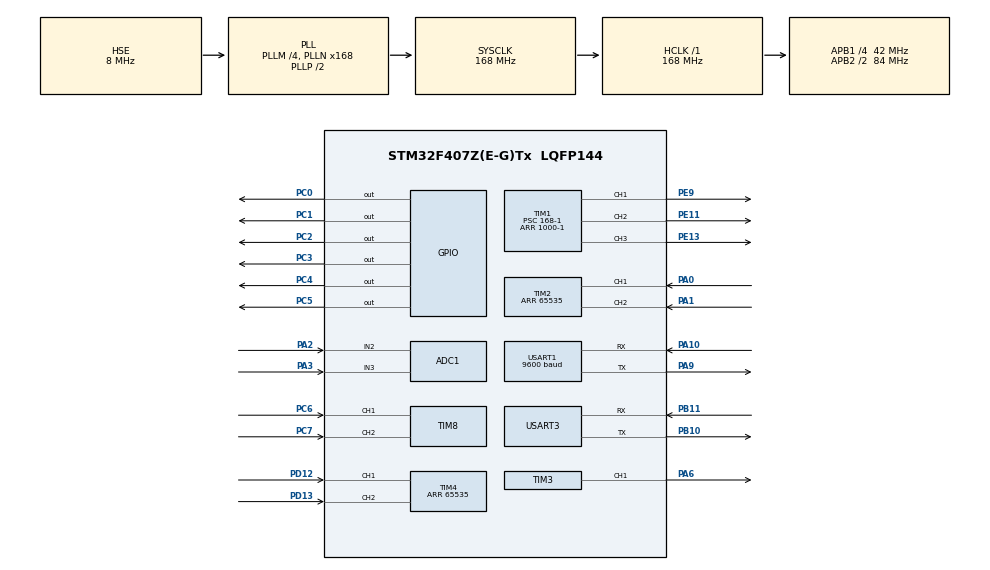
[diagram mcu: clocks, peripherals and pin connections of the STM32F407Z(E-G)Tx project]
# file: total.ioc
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ADC1.Channel-0\#ChannelRegularConversion=ADC_CHANNEL_3
ADC1.Channel-1\#ChannelRegularConversion=ADC_CHANNEL_2
ADC1.ContinuousConvMode=ENABLE
ADC1.DMAContinuousRequests=ENABLE
ADC1.NbrOfConversion=2
ADC1.NbrOfConversionFlag=1
ADC1.Rank-0\#ChannelRegularConversion=1
ADC1.Rank-1\#ChannelRegularConversion=2
ADC1.SamplingTime-0\#ChannelRegularConversion=ADC_SAMPLETIME_3CYCLES
ADC1.SamplingTime-1\#ChannelRegularConversion=ADC_SAMPLETIME_3CYCLES
ADC1.ScanConvMode=ENABLE
ADC1.master=1
Dma.ADC1.1.Direction=DMA_PERIPH_TO_MEMORY
Dma.ADC1.1.FIFOMode=DMA_FIFOMODE_DISABLE
Dma.ADC1.1.Instance=DMA2_Stream0
Dma.ADC1.1.MemDataAlignment=DMA_MDATAALIGN_WORD
Dma.ADC1.1.MemInc=DMA_MINC_ENABLE
Dma.ADC1.1.Mode=DMA_CIRCULAR
Dma.ADC1.1.PeriphDataAlignment=DMA_PDATAALIGN_WORD
Dma.ADC1.1.PeriphInc=DMA_PINC_DISABLE
Dma.ADC1.1.Priority=DMA_PRIORITY_LOW
Dma.Request0=TIM3_CH1/TRIG
Dma.Request1=ADC1
Dma.Request2=USART3_RX
Dma.Request3=USART1_RX
Dma.TIM3_CH1/TRIG.0.Direction=DMA_MEMORY_TO_PERIPH
Dma.TIM3_CH1/TRIG.0.FIFOMode=DMA_FIFOMODE_DISABLE
Dma.TIM3_CH1/TRIG.0.Instance=DMA1_Stream4
Dma.TIM3_CH1/TRIG.0.MemDataAlignment=DMA_MDATAALIGN_WORD
Dma.TIM3_CH1/TRIG.0.MemInc=DMA_MINC_ENABLE
Dma.TIM3_CH1/TRIG.0.Mode=DMA_NORMAL
Dma.TIM3_CH1/TRIG.0.PeriphDataAlignment=DMA_PDATAALIGN_WORD
Dma.TIM3_CH1/TRIG.0.PeriphInc=DMA_PINC_DISABLE
Dma.TIM3_CH1/TRIG.0.Priority=DMA_PRIORITY_LOW
Dma.USART1_RX.3.Direction=DMA_PERIPH_TO_MEMORY
Dma.USART1_RX.3.FIFOMode=DMA_FIFOMODE_DISABLE
Dma.USART1_RX.3.Instance=DMA2_Stream2
Dma.USART1_RX.3.MemDataAlignment=DMA_MDATAALIGN_BYTE
Dma.USART1_RX.3.MemInc=DMA_MINC_ENABLE
Dma.USART1_RX.3.Mode=DMA_NORMAL
Dma.USART1_RX.3.PeriphDataAlignment=DMA_PDATAALIGN_BYTE
Dma.USART1_RX.3.PeriphInc=DMA_PINC_DISABLE
Dma.USART1_RX.3.Priority=DMA_PRIORITY_LOW
Dma.USART3_RX.2.Direction=DMA_PERIPH_TO_MEMORY
Dma.USART3_RX.2.FIFOMode=DMA_FIFOMODE_DISABLE
Dma.USART3_RX.2.Instance=DMA1_Stream1
Dma.USART3_RX.2.MemDataAlignment=DMA_MDATAALIGN_BYTE
Dma.USART3_RX.2.MemInc=DMA_MINC_ENABLE
Dma.USART3_RX.2.Mode=DMA_NORMAL
Dma.USART3_RX.2.PeriphDataAlignment=DMA_PDATAALIGN_BYTE
Dma.USART3_RX.2.PeriphInc=DMA_PINC_DISABLE
Dma.USART3_RX.2.Priority=DMA_PRIORITY_LOW
FREERTOS.Tasks01=lampTask,3,256,StartLampTask,Default,NULL,Dynamic,NULL,NULL;chassisTask,3,256,StartChassisTask,Default,NULL,Dynamic,NULL,NULL;messageTask,-1,128,StartMessageTask,Default,NULL,Dynamic,NULL,NULL
Mcu.Family=STM32F4
Mcu.Name=STM32F407Z(E-G)Tx
Mcu.Package=LQFP144
NVIC.DMA1_Stream1_IRQn=true\:5\:0\:false\:false\:true\:true\:false\:true\:true
NVIC.DMA1_Stream4_IRQn=true\:5\:0\:false\:false\:true\:true\:false\:true\:true
NVIC.DMA2_Stream0_IRQn=true\:5\:0\:false\:false\:true\:true\:false\:true\:true
NVIC.DMA2_Stream2_IRQn=true\:5\:0\:false\:false\:true\:true\:false\:true\:true
NVIC.PriorityGroup=NVIC_PRIORITYGROUP_4
NVIC.TIM5_IRQn=true\:15\:0\:false\:false\:true\:false\:false\:true\:true
NVIC.TIM6_DAC_IRQn=true\:5\:0\:false\:false\:true\:true\:true\:true\:true
NVIC.TIM8_TRG_COM_TIM14_IRQn=true\:5\:0\:false\:false\:true\:true\:true\:true\:true
NVIC.TimeBase=TIM5_IRQn
NVIC.TimeBaseIP=TIM5
NVIC.USART1_IRQn=true\:5\:0\:false\:false\:true\:true\:true\:true\:true
NVIC.USART3_IRQn=true\:5\:0\:false\:false\:true\:true\:true\:true\:true
PA0-WKUP.Signal=S_TIM2_CH1_ETR
PA1.Signal=S_TIM2_CH2
PA10.Mode=Asynchronous
PA10.Signal=USART1_RX
PA13.Mode=Serial_Wire
PA13.Signal=SYS_JTMS-SWDIO
PA14.Mode=Serial_Wire
PA14.Signal=SYS_JTCK-SWCLK
PA2.Signal=ADCx_IN2
PA3.Signal=ADCx_IN3
PA6.Signal=S_TIM3_CH1
PA9.Mode=Asynchronous
PA9.Signal=USART1_TX
PB10.Mode=Asynchronous
PB10.Signal=USART3_TX
PB11.Mode=Asynchronous
PB11.Signal=USART3_RX
PC0.Signal=GPIO_Output
PC1.Signal=GPIO_Output
PC2.Signal=GPIO_Output
PC3.Signal=GPIO_Output
PC4.Signal=GPIO_Output
PC5.Signal=GPIO_Output
PC6.Signal=S_TIM8_CH1
PC7.Signal=S_TIM8_CH2
PD12.Signal=S_TIM4_CH1
PD13.Signal=S_TIM4_CH2
PE11.Signal=S_TIM1_CH2
PE13.Signal=S_TIM1_CH3
PE9.Signal=S_TIM1_CH1
PH0-OSC_IN.Mode=HSE-External-Oscillator
PH0-OSC_IN.Signal=RCC_OSC_IN
PH1-OSC_OUT.Mode=HSE-External-Oscillator
PH1-OSC_OUT.Signal=RCC_OSC_OUT
ProjectManager.HeapSize=0x200
ProjectManager.StackSize=0x400
ProjectManager.TargetToolchain=MDK-ARM V5.32
RCC.48MHZClocksFreq_Value=84000000
RCC.AHBFreq_Value=168000000
RCC.APB1CLKDivider=RCC_HCLK_DIV4
RCC.APB1Freq_Value=42000000
RCC.APB1TimFreq_Value=84000000
RCC.APB2CLKDivider=RCC_HCLK_DIV2
RCC.APB2Freq_Value=84000000
RCC.APB2TimFreq_Value=168000000
RCC.CortexFreq_Value=168000000
RCC.HCLKFreq_Value=168000000
RCC.HSE_VALUE=8000000
RCC.HSI_VALUE=16000000
RCC.LSE_VALUE=32768
RCC.PLLM=4
RCC.PLLN=168
RCC.PLLSourceVirtual=RCC_PLLSOURCE_HSE
RCC.SYSCLKFreq_VALUE=168000000
RCC.SYSCLKSource=RCC_SYSCLKSOURCE_PLLCLK
RCC.VCOOutputFreq_Value=336000000
SH.ADCx_IN2.0=ADC1_IN2,IN2
SH.ADCx_IN3.0=ADC1_IN3,IN3
SH.S_TIM1_CH1.0=TIM1_CH1,PWM Generation1 CH1
SH.S_TIM1_CH2.0=TIM1_CH2,PWM Generation2 CH2
SH.S_TIM1_CH3.0=TIM1_CH3,PWM Generation3 CH3
SH.S_TIM2_CH1_ETR.0=TIM2_CH1,Encoder_Interface
SH.S_TIM2_CH2.0=TIM2_CH2,Encoder_Interface
SH.S_TIM3_CH1.0=TIM3_CH1,PWM Generation1 CH1
SH.S_TIM4_CH1.0=TIM4_CH1,Encoder_Interface
SH.S_TIM4_CH2.0=TIM4_CH2,Encoder_Interface
SH.S_TIM8_CH1.0=TIM8_CH1,Encoder_Interface
SH.S_TIM8_CH2.0=TIM8_CH2,Encoder_Interface
TIM1.AutoReloadPreload=TIM_AUTORELOAD_PRELOAD_ENABLE
TIM1.Channel-PWM\ Generation1\ CH1=TIM_CHANNEL_1
TIM1.Channel-PWM\ Generation2\ CH2=TIM_CHANNEL_2
TIM1.Channel-PWM\ Generation3\ CH3=TIM_CHANNEL_3
TIM1.Period=1000-1
TIM1.Prescaler=168-1
TIM14.Period=105-1
TIM14.Prescaler=1000-1
TIM2.EncoderMode=TIM_ENCODERMODE_TI12
TIM2.Period=65535
TIM3.AutoReloadPreload=TIM_AUTORELOAD_PRELOAD_DISABLE
TIM3.Channel-PWM\ Generation1\ CH1=TIM_CHANNEL_1
TIM3.Period=105-1
TIM4.EncoderMode=TIM_ENCODERMODE_TI12
TIM4.Period=65535
TIM6.Period=1000-1
TIM6.Prescaler=84-1
TIM8.EncoderMode=TIM_ENCODERMODE_TI12
USART1.BaudRate=9600
USART1.VirtualMode=VM_ASYNC
USART3.VirtualMode=VM_ASYNC
VP_FREERTOS_VS_CMSIS_V1.Mode=CMSIS_V1
VP_SYS_VS_tim5.Mode=TIM5
VP_TIM14_VS_ClockSourceINT.Mode=Enable_Timer
VP_TIM1_VS_ClockSourceINT.Mode=Internal
VP_TIM3_VS_ClockSourceINT.Mode=Internal
VP_TIM6_VS_ClockSourceINT.Mode=Enable_Timer
board=custom

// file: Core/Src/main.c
/* USER CODE BEGIN Header */
/**
  ******************************************************************************
  * @file           : main.c
  * @brief          : Main program body
  ******************************************************************************
  * @attention
  *
  * Copyright (c) 2024 STMicroelectronics.
  * All rights reserved.
  *
  * This software is licensed under terms that can be found in the LICENSE file
  * in the root directory of this software component.
  * If no LICENSE file comes with this software, it is provided AS-IS.
  *
  ******************************************************************************
  */
/* USER CODE END Header */
#include "main.h"
#include "cmsis_os.h"
#include "adc.h"
#include "dma.h"
#include "tim.h"
#include "usart.h"
#include "gpio.h"

/* USER CODE BEGIN Includes */
#include "rgb.h"
#include "lamp.h"
#include "chassis.h"
#include "tof.h"
#include "fytpi_math.h"
/* USER CODE END Includes */

/* USER CODE BEGIN PV */
uint8_t RxData = 0;
uint8_t uart_buf[44] = {0};
/* USER CODE END PV */

void SystemClock_Config(void);
void MX_FREERTOS_Init(void);

int main(void)
{

  /* MCU Configuration--------------------------------------------------------*/

  /* Reset of all peripherals, Initializes the Flash interface and the Systick. */
  HAL_Init();

  /* Configure the system clock */
  SystemClock_Config();

  /* Initialize all configured peripherals */
  MX_GPIO_Init();
  MX_DMA_Init();
  MX_TIM3_Init();
  MX_ADC1_Init();
  MX_TIM1_Init();
  MX_TIM2_Init();
  MX_TIM4_Init();
  MX_TIM6_Init();
  MX_TIM8_Init();
  MX_TIM14_Init();
  MX_USART3_UART_Init();
  MX_USART1_UART_Init();
  /* USER CODE BEGIN 2 */
  HAL_ADC_Start_DMA(&hadc1,adc_value,sizeof(adc_value));//光敏电阻和人体感应
  HAL_TIM_Base_Start_IT(&htim14);//用来定时发送灯的PWM的定时器
  HAL_TIM_Base_Start_IT(&htim6);//用来读电机反馈速度的定时器
  HAL_TIM_Encoder_Start(&htim2,TIM_CHANNEL_ALL);//编码器1
  HAL_TIM_Encoder_Start(&htim4,TIM_CHANNEL_ALL);//编码器2
  HAL_TIM_Encoder_Start(&htim8,TIM_CHANNEL_ALL);//编码器3
  HAL_TIM_PWM_Start(&htim1,TIM_CHANNEL_1);//用来发送电机PWM的定时器
  HAL_TIM_PWM_Start(&htim1,TIM_CHANNEL_2);//用来发送电机PWM的定时器
  HAL_TIM_PWM_Start(&htim1,TIM_CHANNEL_3);//用来发送电机PWM的定时器
//  HAL_UARTEx_ReceiveToIdle_DMA(&huart3,&RxData,sizeof(RxData));
//  __HAL_DMA_DISABLE_IT(&hdma_usart3_rx,DMA_IT_HT);//上位机串口
  HAL_UARTEx_ReceiveToIdle_DMA(&huart3,uart_buf,sizeof(uart_buf));
  __HAL_DMA_DISABLE_IT(&hdma_usart3_rx,DMA_IT_HT);//上位机串口
  HAL_UARTEx_ReceiveToIdle_DMA(&huart1,tof_dma_buf,sizeof(tof_dma_buf));
  __HAL_DMA_DISABLE_IT(&hdma_usart1_rx,DMA_IT_HT);
  /* USER CODE END 2 */

  /* Call init function for freertos objects (in freertos.c) */
  MX_FREERTOS_Init();

  /* Start scheduler */
  osKernelStart();

  /* We should never get here as control is now taken by the scheduler */
  /* Infinite loop */
  while (1)
  {

  }
}

void SystemClock_Config(void)
{
  RCC_OscInitTypeDef RCC_OscInitStruct = {0};
  RCC_ClkInitTypeDef RCC_ClkInitStruct = {0};

  /** Configure the main internal regulator output voltage
  */
  __HAL_RCC_PWR_CLK_ENABLE();
  __HAL_PWR_VOLTAGESCALING_CONFIG(PWR_REGULATOR_VOLTAGE_SCALE1);

  /** Initializes the RCC Oscillators according to the specified parameters
  * in the RCC_OscInitTypeDef structure.
  */
  RCC_OscInitStruct.OscillatorType = RCC_OSCILLATORTYPE_HSE;
  RCC_OscInitStruct.HSEState = RCC_HSE_ON;
  RCC_OscInitStruct.PLL.PLLState = RCC_PLL_ON;
  RCC_OscInitStruct.PLL.PLLSource = RCC_PLLSOURCE_HSE;
  RCC_OscInitStruct.PLL.PLLM = 4;
  RCC_OscInitStruct.PLL.PLLN = 168;
  RCC_OscInitStruct.PLL.PLLP = RCC_PLLP_DIV2;
  RCC_OscInitStruct.PLL.PLLQ = 4;
  if (HAL_RCC_OscConfig(&RCC_OscInitStruct) != HAL_OK)
  {
    Error_Handler();
  }

  /** Initializes the CPU, AHB and APB buses clocks
  */
  RCC_ClkInitStruct.ClockType = RCC_CLOCKTYPE_HCLK|RCC_CLOCKTYPE_SYSCLK
                              |RCC_CLOCKTYPE_PCLK1|RCC_CLOCKTYPE_PCLK2;
  RCC_ClkInitStruct.SYSCLKSource = RCC_SYSCLKSOURCE_PLLCLK;
  RCC_ClkInitStruct.AHBCLKDivider = RCC_SYSCLK_DIV1;
  RCC_ClkInitStruct.APB1CLKDivider = RCC_HCLK_DIV4;
  RCC_ClkInitStruct.APB2CLKDivider = RCC_HCLK_DIV2;

  if (HAL_RCC_ClockConfig(&RCC_ClkInitStruct, FLASH_LATENCY_5) != HAL_OK)
  {
    Error_Handler();
  }
}

void HAL_TIM_PeriodElapsedCallback(TIM_HandleTypeDef *htim)
{
  /* USER CODE BEGIN Callback 0 */
  if(htim->Instance == TIM6){
	  CHASSIS_T *chassis_rx = getChassisStruct();

	  chassis_rx->mg310[0].speed = (__HAL_TIM_GET_COUNTER(&htim2));
	  chassis_rx->mg310[1].speed = (__HAL_TIM_GET_COUNTER(&htim4));
	  chassis_rx->mg310[2].speed = (__HAL_TIM_GET_COUNTER(&htim8));
	  for(uint8_t i=0;i<3;i++){
		  chassis_rx->mg310[i].speed = (chassis_rx->mg310[i].speed > 10000)?(chassis_rx->mg310[i].speed-65536):chassis_rx->mg310[i].speed;
	  }

	  __HAL_TIM_SET_COUNTER(&htim2,0);
	  __HAL_TIM_SET_COUNTER(&htim4,0);
	  __HAL_TIM_SET_COUNTER(&htim8,0);
  }
  /* USER CODE END Callback 0 */
  if (htim->Instance == TIM5) {
    HAL_IncTick();
  }
  /* USER CODE BEGIN Callback 1 */
  if(htim->Instance == TIM14){
	  RGB_sendArray();
	  timeProcess();
  }
  /* USER CODE END Callback 1 */
}

void Error_Handler(void)
{
  __disable_irq();
  while (1)
  {
  }
}

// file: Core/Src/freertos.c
/* USER CODE BEGIN Header */
/**
  ******************************************************************************
  * File Name          : freertos.c
  * Description        : Code for freertos applications
  ******************************************************************************
  * @attention
  *
  * Copyright (c) 2024 STMicroelectronics.
  * All rights reserved.
  *
  * This software is licensed under terms that can be found in the LICENSE file
  * in the root directory of this software component.
  * If no LICENSE file comes with this software, it is provided AS-IS.
  *
  ******************************************************************************
  */
/* USER CODE END Header */

#include "FreeRTOS.h"
#include "task.h"
#include "main.h"
#include "cmsis_os.h"

/* USER CODE BEGIN Includes */
#include "lamp.h"
#include "chassis.h"
#include "message.h"
#include "tof.h"
#include "usart.h"
/* USER CODE END Includes */

osThreadId lampTaskHandle;
osThreadId chassisTaskHandle;
osThreadId messageTaskHandle;

void StartLampTask(void const * argument);
void StartChassisTask(void const * argument);
void StartMessageTask(void const * argument);

void MX_FREERTOS_Init(void); /* (MISRA C 2004 rule 8.1) */

/* GetIdleTaskMemory prototype (linked to static allocation support) */
void vApplicationGetIdleTaskMemory( StaticTask_t **ppxIdleTaskTCBBuffer, StackType_t **ppxIdleTaskStackBuffer, uint32_t *pulIdleTaskStackSize );

/* USER CODE BEGIN GET_IDLE_TASK_MEMORY */
static StaticTask_t xIdleTaskTCBBuffer;
static StackType_t xIdleStack[configMINIMAL_STACK_SIZE];

void vApplicationGetIdleTaskMemory( StaticTask_t **ppxIdleTaskTCBBuffer, StackType_t **ppxIdleTaskStackBuffer, uint32_t *pulIdleTaskStackSize )
{
  *ppxIdleTaskTCBBuffer = &xIdleTaskTCBBuffer;
  *ppxIdleTaskStackBuffer = &xIdleStack[0];
  *pulIdleTaskStackSize = configMINIMAL_STACK_SIZE;
  /* place for user code */
}
/* USER CODE END GET_IDLE_TASK_MEMORY */

void MX_FREERTOS_Init(void) {

  /* Create the thread(s) */
  /* definition and creation of lampTask */
  osThreadDef(lampTask, StartLampTask, osPriorityRealtime, 0, 256);
  lampTaskHandle = osThreadCreate(osThread(lampTask), NULL);

  /* definition and creation of chassisTask */
  osThreadDef(chassisTask, StartChassisTask, osPriorityRealtime, 0, 256);
  chassisTaskHandle = osThreadCreate(osThread(chassisTask), NULL);

  /* definition and creation of messageTask */
  osThreadDef(messageTask, StartMessageTask, osPriorityBelowNormal, 0, 128);
  messageTaskHandle = osThreadCreate(osThread(messageTask), NULL);

}

void StartLampTask(void const * argument)
{
  /* USER CODE BEGIN StartLampTask */
  /* Infinite loop */
  for(;;)
  {
	  LAMP_process();
    osDelay(1);
  }
  /* USER CODE END StartLampTask */
}

void StartChassisTask(void const * argument)
{
  /* USER CODE BEGIN StartChassisTask */
	CHASSIS_pidInit();
  /* Infinite loop */
  for(;;)
  {
	  CHASSIS_process();
	  CHASSIS_pwmTransimt();
    osDelay(1);
  }
  /* USER CODE END StartChassisTask */
}

void StartMessageTask(void const * argument)
{
  /* USER CODE BEGIN StartMessageTask */
	LAMP_T *lamp = getLampStruct();
	CHASSIS_T *chassis = getChassisStruct();
  /* Infinite loop */
  for(;;)
  {
	  MESSAGE_dataProcess();
	  LAMP_test();
	  MESSAGE_upperComputerControl(uart_buf,lamp,chassis);
    osDelay(1);
  }
  /* USER CODE END StartMessageTask */
}
